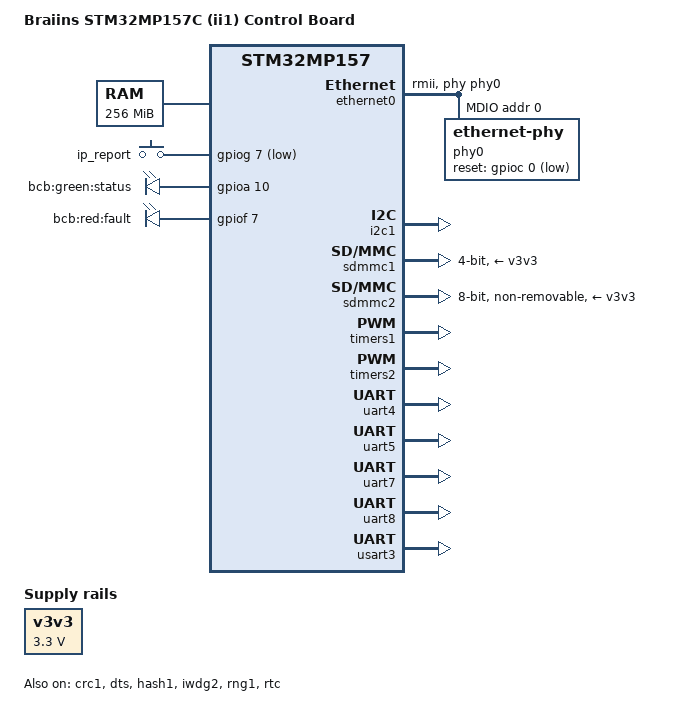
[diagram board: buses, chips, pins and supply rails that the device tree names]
// SPDX-License-Identifier: (GPL-2.0+ OR BSD-3-Clause)
/*
 * Copyright (C) 2023  Braiins Systems s.r.o.
 *
 * This file is part of Braiins Open-Source Initiative (BOSI).
 *
 * BOSI is free software: you can redistribute it and/or modify
 * it under the terms of the GNU General Public License as published by
 * the Free Software Foundation, either version 3 of the License, or
 * (at your option) any later version.
 *
 * This program is distributed in the hope that it will be useful,
 * but WITHOUT ANY WARRANTY; without even the implied warranty of
 * MERCHANTABILITY or FITNESS FOR A PARTICULAR PURPOSE.  See the
 * GNU General Public License for more details.
 *
 * You should have received a copy of the GNU General Public License
 * along with this program.  If not, see <https://www.gnu.org/licenses/>.
 *
 * Please, keep in mind that we may also license BOSI or any part thereof
 * under a proprietary license. For more information on the terms and conditions
 * of such proprietary license or if you have any other questions, please
 * contact us at opensource@braiins.com.
 */

/dts-v1/;

#include <dt-bindings/input/input.h>

#include "stm32mp157.dtsi"
#include "stm32mp15xc.dtsi"
#include "stm32mp157c-ii1-pinctrl.dtsi"
#include "stm32mp15xxab-pinctrl.dtsi"
#include "stm32mp15-m4-srm.dtsi"

/ {
	model = "Braiins STM32MP157C (ii1) Control Board";
	compatible = "braiins,ii1-stm\0st,stm32mp157";

	aliases {
		ethernet0 = &ethernet0;
		i2c0 = &i2c1;
		i2c1 = &i2c2;
		i2c2 = &i2c4;
		mmc0 = &sdmmc2;     /* eMMC */
		mmc1 = &sdmmc1;     /* SD card */
		serial0 = &uart4;   /* DEBUG */
		serial1 = &usart3;  /* Hashboard 1 */
		serial2 = &uart5;   /* Hashboard 2 */
		serial3 = &uart7;   /* Hashboard 3 */
		serial4 = &uart8;   /* Hashboard 4 */
	};

	chosen {
		stdout-path = "serial0:115200n8";
	};

	memory@c0000000 {
		device_type = "memory";
		reg = <0xc0000000 0x10000000>;
	};

	reserved-memory {
		#address-cells = <1>;
		#size-cells = <1>;
		ranges;
	};

	/*
	 * PCB:     S2
	 * SCH:     USR_BTN -> S2 (PTS645VL83-2 LFS)
	 * SoC:     GPIOG -> PG7 -> gpio[103] (IN)
	 * Driver:  /sys/bus/platform/drivers/gpio-keys
	 */
	keys {
		compatible = "gpio-keys";

		ip-report {
			label = "ip_report";
			linux,code = <BTN_0>;
			gpios = <&gpiog 7 GPIO_ACTIVE_LOW>;
		};
	};

	/*
	 * PCB:     D9
	 * SCH:     USR_IFC -> BIVAR_HC301
	 * SoC:     GPIOA -> PA10 -> gpio[10] (OUT)
	 *          GPIOF -> PF7 -> gpio[87] (OUT)
	 * Driver:  /sys/bus/platform/drivers/leds-gpio
	 */
	leds {
		compatible = "gpio-leds";

		/*
		 * SCH:     LED_GRN
		 * Device:  /sys/class/leds/bcb:green:status
		 *          /sys/devices/platform/leds/leds/bcb:green:status
		 */
		status-led {
			label = "bcb:green:status";
			gpios = <&gpioa 10 GPIO_ACTIVE_HIGH>;
			linux,default-trigger = "none";
			default-state = "off";
		};

		/*
		 * SCH:     LED_RED
		 * Device:  /sys/class/leds/bcb:red:fault
		 *          /sys/devices/platform/leds/leds/bcb:red:fault
		 */
		fault-led {
			label = "bcb:red:fault";
			gpios = <&gpiof 7 GPIO_ACTIVE_HIGH>;
			linux,default-trigger = "none";
			default-state = "off";
		};
	};

	v3v3: regulator-v3v3 {
		compatible = "regulator-fixed";
		regulator-name = "v3v3";
		regulator-min-microvolt = <3300000>;
		regulator-max-microvolt = <3300000>;
		regulator-always-on;
	};
};

&crc1 {
	status = "okay";
};

&dma1 {
	sram = <&dma_pool>;
};

&dma2 {
	sram = <&dma_pool>;
};

&dts {
	status = "okay";
};

&ethernet0 {
	status = "okay";
	pinctrl-0 = <&eth1_pins_mx>;
	pinctrl-1 = <&eth1_sleep_pins_mx>;
	pinctrl-names = "default", "sleep";
	phy-mode = "rmii";
	max-speed = <100>;
	phy-handle = <&phy0>;

	mdio0 {
		#address-cells = <1>;
		#size-cells = <0>;
		compatible = "snps,dwmac-mdio";
		phy0: ethernet-phy@0 {
			reg = <0>;
			reset-gpios = <&gpioc 0 GPIO_ACTIVE_LOW>;
			reset-assert-us = <1000>;
			reset-deassert-us = <2000>;
			smsc,disable-energy-detect;
		};
	};
};

&gpioa {
	gpio-line-names =
	/*PA0-PA3*/	    "FAN_RPM_A1", "ETH1_REF_CLK", "ETH1_MDIO", "FAN_RPM_B0",
	/*PA4-PA7*/	    "", "FAN_RPM_A0", "FAN_RPM_B1", "ETH1_CRS_DV",
	/*PA8-PA11*/	"SDMMC2_D4", "SDMMC2_D5", "GREEN_LED", "DEBUG_UART4_RX",
	/*PA12-PA15*/	"DEBUG_UART4_TX", "", "", "";
};

&gpiob {
	gpio-line-names =
	/*PB0-PB3*/	    "", "", "", "SDMMC2_D2",
	/*PB4-PB7*/	    "SDMMC2_D3", "HB1_UART5_RX", "HB1_UART5_TX", "",
	/*PB8-PB11*/	"EEPROM_I2C4_SCL", "EEPROM_I2C4_SDA", "FAN_PWM_B_TIM2_CH3", "ETH1_TX_EN",
	/*PB12-PB15*/	"", "ETH1_TXD1", "SDMMC2_D0", "SDMMC2_D1";
};

&gpioc {
	gpio-line-names =
	/*PC0-PC3*/	    "ETH1_PHY_RESET", "ETH1_MDC", "", "",
	/*PC4-PC7*/	    "ETH1_RXD0", "ETH1_RXD1", "", "",
	/*PC8-PC11*/	"SDMMC1_D0", "SDMMC1_D1", "SDMMC1_D2", "SDMMC1_D3",
	/*PC12-PC15*/	"SDMMC1_CK", "", "", "";
};

&gpiod {
	gpio-line-names =
	/*PD0-PD3*/	    "", "", "SDMMC1_CMD", "SDMMC2_D7",
	/*PD4-PD7*/	    "HB0_PLUG", "PWR_CONTROL", "", "PWR_I2C2_SCL",
	/*PD8-PD11*/	"HB0_USART3_TX", "HB0_USART3_RX", "HB0_RESET", "",
	/*PD12-PD15*/	"HB_I2C1_SCL", "HB_I2C1_SDA", "", "";
};

&gpioe {
	gpio-line-names =
	/*PE0-PE3*/	    "HB3_UART8_RX", "HB3_UART8_TX", "", "SDMMC2_CK",
	/*PE4-PE7*/	    "", "SDMMC2_D6", "", "HB2_UART7_RX",
	/*PE8-PE11*/	"HB2_UART7_TX", "", "HB2_PLUG", "HB3_RESET",
	/*PE12-PE15*/	"", "HB3_PLUG", "FAN_PWM_A_TIM1_CH4", "";
};

&gpiof {
	gpio-line-names =
	/*PF0-PF3*/	    "", "", "", "",
	/*PF4-PF7*/	    "", "", "", "RED_LED",
	/*PF8-PF11*/	"HB2_RESET", "HB1_RESET", "", "";
};

&gpiog {
	gpio-line-names =
	/*PG0-PG3*/	    "", "", "", "",
	/*PG4-PG7*/	    "", "", "SDMMC2_CMD", "USR_BTN",
	/*PG8-PG11*/	"ETH1_CLK", "", "HB1_PLUG", "",
	/*PG12-PG15*/	"", "ETH1_TXD0", "", "PWR_I2C2_SDA";
};

&gpioh {
	gpio-line-names =
	/*PH0-PH1*/	    "", "";
};

&hash1 {
	status = "okay";
};

/*
 * PCB:     Hashboard 1-4
 * SCH:     HB[0:3] - CON7[A:D]
 *              I2C1_SDA -> pin[3]
 *              I2C1_SCL -> pin[4]
 * SoC:     I2C1_SDA -> PD13 -> gpio[61]
 *          I2C1_SCL -> PD12 -> gpio[60]
 * Driver:  /sys/bus/platform/drivers/stm32f7-i2c
 * Device:  /sys/class/i2c-dev/i2c-0
 *          /sys/devices/platform/soc/40012000.i2c/i2c-0/i2c-dev/i2c-0
 *          /dev/i2c-0
 */
&i2c1 {
	pinctrl-names = "default", "sleep";
	pinctrl-0 = <&i2c1_pins_mx>;
	pinctrl-1 = <&i2c1_sleep_pins_mx>;
	status = "okay";
};

/*
 * PCB:     PSU
 * SCH:     PWR_COM - CON8
 *              SDA -> pin[5]
 *              SCL -> pin[6]
 * SoC:     I2C2_SDA -> PG15 -> gpio[111]
 *          I2C2_SCL -> PD7 -> gpio[55]
 * Driver:  /sys/bus/platform/drivers/stm32f7-i2c
 * Device:  /sys/class/i2c-dev/i2c-1
 *          /sys/devices/platform/soc/40013000.i2c/i2c-1/i2c-dev/i2c-1
 *          /dev/i2c-1
 */
&i2c2 {
	pinctrl-names = "default", "sleep";
	pinctrl-0 = <&i2c2_pins_mx>;
	pinctrl-1 = <&i2c2_sleep_pins_mx>;
	status = "disabled";
};

/*
 * PCB:     EEPROM
 * SCH:     CON9
 *              SDA -> pin[2]
 *              SCL -> pin[1]
 * SoC:     I2C4_SDA -> PB9 -> gpio[25]
 *          I2C4_SCL -> PB8 -> gpio[24]
 */
&i2c4 {
	pinctrl-names = "default", "sleep";
	pinctrl-0 = <&i2c4_pins_mx>;
	pinctrl-1 = <&i2c4_sleep_pins_mx>;
	/delete-property/dmas;
	/delete-property/dma-names;
	status = "disabled";
};

/*
 * Watchdog
 */
&iwdg2 {
	timeout-sec = <32>;
	status = "okay";
};

/*
 * Random Number Generator
 */
&rng1 {
	status = "okay";
};

/*
 * Real Time Clock
 */
&rtc {
	status = "okay";
};

/*
 * SD card
 */
&sdmmc1 {
	pinctrl-names = "default", "opendrain", "sleep";
	pinctrl-0 = <&sdmmc1_pins_mx>;
	pinctrl-1 = <&sdmmc1_opendrain_pins_mx>;
	pinctrl-2 = <&sdmmc1_sleep_pins_mx>;
	broken-cd;
	st,neg-edge;
	bus-width = <4>;
	vmmc-supply = <&v3v3>;
	status = "okay";
};

/*
 * eMMC
 */
&sdmmc2 {
	pinctrl-names = "default", "opendrain", "sleep";
	pinctrl-0 = <&sdmmc2_pins_mx>;
	pinctrl-1 = <&sdmmc2_opendrain_pins_mx>;
	pinctrl-2 = <&sdmmc2_sleep_pins_mx>;
	non-removable;
	no-sd;
	no-sdio;
	st,neg-edge;
	bus-width = <8>;
	mmc-ddr-3_3v;
	vmmc-supply = <&v3v3>;
	vqmmc-supply = <&v3v3>;
	status = "okay";
};

/*
 * SRAM memory
 */
&sram {
	dma_pool: dma_pool@0 {
		reg = <0x50000 0x10000>;
		pool;
	};
};

/*
 * PCB:     Fan 1/2 - IN
 * SCH:     PWM_A -> CON[1:2]
 * SoC:     TIM1_CH4 -> PE14 -> gpio[78]
 * Driver:  /sys/bus/platform/drivers/stm32-pwm
 * Device:  /sys/class/pwm/pwmchip4/pwm3
 *          /sys/devices/platform/soc/44000000.timer/44000000.timer:pwm/pwm/pwmchip4/pwm3
 */
&timers1 {
	dmas = <&dmamux1 14 0x400 0x80000001>,
	       <&dmamux1 15 0x400 0x80000001>;
	dma-names = "ch4", "up";
	status = "okay";

	pwm {
		pinctrl-names = "default", "sleep";
		pinctrl-0 = <&tim1_pwm_pins_mx>;
		pinctrl-1 = <&tim1_pwm_sleep_pins_mx>;
		status = "okay";
	};
};

/*
 * PCB:     Fan 3/4 - OUT
 * SCH:     PWM_B -> CON[3:4]
 * SoC:     TIM2_CH3 -> PB10 -> gpio[26]
 * Driver:  /sys/bus/platform/drivers/stm32-pwm
 * Device:  /sys/class/pwm/pwmchip0/pwm2
 *          /sys/devices/platform/soc/40000000.timer/40000000.timer:pwm/pwm/pwmchip0/pwm2
 */
&timers2 {
	dmas = <&dmamux1 20 0x400 0x80000001>,
	       <&dmamux1 22 0x400 0x80000001>;
	dma-names = "ch3", "up";
	status = "okay";

	pwm {
		pinctrl-names = "default", "sleep";
		pinctrl-0 = <&tim2_pwm_pins_mx>;
		pinctrl-1 = <&tim2_pwm_sleep_pins_mx>;
		status = "okay";
	};
};

/*
 * PCB:     GND TX RX
 * SCH:     Debug - CON10
 * SoC:     UART4_RX -> PA11 -> gpio[11]
 *          UART4_TX -> PA12 -> gpio[12]
 * Driver:  /sys/bus/platform/drivers/stm32-usart
 * Device:  /sys/class/tty/ttySTM0
 *          /sys/devices/platform/soc/40010000.serial/tty/ttySTM0
 *          /dev/ttySTM0
 */
&uart4 {
	pinctrl-names = "default", "sleep";
	pinctrl-0 = <&uart4_pins_mx>;
	pinctrl-1 = <&uart4_sleep_pins_mx>;
	status = "okay";
};

/*
 * PCB:     Hashboard 2
 * SCH:     HB1 - CON7B
 *              HB_RXD -> pin[12]
 *              HB_TXD -> pin[11]
 * SoC:     UART5_RX -> PB5 -> gpio[21]
 *          UART5_TX -> PB6 -> gpio[22]
 * Driver:  /sys/bus/platform/drivers/stm32-usart
 * Device:  /sys/class/tty/ttySTM2
 *          /sys/devices/platform/soc/40011000.serial/tty/ttySTM2
 *          /dev/ttySTM2
 */
&uart5 {
	pinctrl-names = "default", "sleep";
	pinctrl-0 = <&uart5_pins_mx>;
	pinctrl-1 = <&uart5_sleep_pins_mx>;
	status = "okay";
};

/*
 * PCB:     Hashboard 3
 * SCH:     HB2 - CON7C
 *              HB_RXD -> pin[12]
 *              HB_TXD -> pin[11]
 * SoC:     UART7_RX -> PE7 -> gpio[71]
 *          UART7_TX -> PE8 -> gpio[72]
 * Driver:  /sys/bus/platform/drivers/stm32-usart
 * Device:  /sys/class/tty/ttySTM3
 *          /sys/devices/platform/soc/40018000.serial/tty/ttySTM3
 *          /dev/ttySTM3
 */
&uart7 {
	pinctrl-names = "default", "sleep";
	pinctrl-0 = <&uart7_pins_mx>;
	pinctrl-1 = <&uart7_sleep_pins_mx>;
	status = "okay";
};

/*
 * PCB:     Hashboard 4
 * SCH:     HB3 - CON7D
 *              HB_RXD -> pin[12]
 *              HB_TXD -> pin[11]
 * SoC:     UART8_RX -> PE0 -> gpio[64]
 *          UART8_TX -> PE1 -> gpio[65]
 * Driver:  /sys/bus/platform/drivers/stm32-usart
 * Device:  /sys/class/tty/ttySTM4
 *          /sys/devices/platform/soc/40019000.serial/tty/ttySTM4
 *          /dev/ttySTM4
 */
&uart8 {
	pinctrl-names = "default", "sleep";
	pinctrl-0 = <&uart8_pins_mx>;
	pinctrl-1 = <&uart8_sleep_pins_mx>;
	status = "okay";
};

/*
 * PCB:     Hashboard 1
 * SCH:     HB0 - CON7A
 *              HB_RXD -> pin[12]
 *              HB_TXD -> pin[11]
 * SoC:     USART3_RX -> PD9 -> gpio[57]
 *          USART3_TX -> PD8 -> gpio[56]
 * Driver:  /sys/bus/platform/drivers/stm32-usart
 * Device:  /sys/class/tty/ttySTM1
 *          /sys/devices/platform/soc/4000f000.serial/tty/ttySTM1
 *          /dev/ttySTM1
 */
&usart3 {
	pinctrl-names = "default", "sleep";
	pinctrl-0 = <&usart3_pins_mx>;
	pinctrl-1 = <&usart3_sleep_pins_mx>;
	status = "okay";
};
